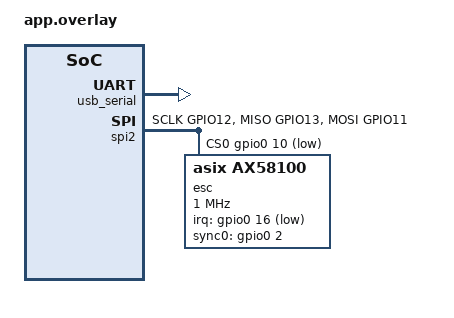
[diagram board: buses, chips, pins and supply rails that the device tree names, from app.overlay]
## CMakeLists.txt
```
cmake_minimum_required(VERSION 3.20.0)

# Custom bindings (asix,ax58100) live alongside the app.
list(APPEND DTS_ROOT ${CMAKE_CURRENT_SOURCE_DIR})

find_package(Zephyr REQUIRED HINTS $ENV{ZEPHYR_BASE})
project(ethercat_servo_node)

# SOES lives behind CONFIG_ESC_USE_SOES. Its sources are compiled straight
# into the app rather than as a separate library: it needs our ecat_options.h
# and cc.h on the include path, and a nested library would have to re-export
# both anyway.
if(CONFIG_ESC_USE_SOES)
  set(SOES_DIR ${CMAKE_CURRENT_SOURCE_DIR}/soes)

  # Fetched, not vendored — the same approach master/CMakeLists.txt uses for
  # SOEM. Committing the tree would add ~127 files of demos, drivers and ESI
  # binaries for the three .c files we actually compile.
  #
  # SOURCE_SUBDIR points at a directory that does not exist on purpose: it
  # stops FetchContent from running SOES's own CMakeLists, which builds a
  # standalone library with its own config. We only want the sources.
  include(FetchContent)
  FetchContent_Declare(soes
    GIT_REPOSITORY https://github.com/OpenEtherCATsociety/SOES.git
    # Pinned to the exact commit this port was verified against on hardware
    # (2026-08-02). Tags v3.1.0 and earlier are untested here.
    GIT_TAG 6ef7b9415e936c061ad30626ca00004bdde2ac62
    SOURCE_SUBDIR do-not-configure)
  FetchContent_MakeAvailable(soes)

  set(SOES_SRC ${soes_SOURCE_DIR}/soes)

  target_include_directories(app PRIVATE
    ${SOES_DIR} ${SOES_SRC} ${CMAKE_CURRENT_SOURCE_DIR}/src)

  target_sources(app PRIVATE
    ${SOES_SRC}/esc.c
    ${SOES_SRC}/esc_coe.c
    ${SOES_SRC}/ecat_slv.c
    ${SOES_DIR}/esc_hw.c
    ${SOES_DIR}/soes_app.c
    ${SOES_DIR}/slave_objectlist.c
  )
endif()

target_sources(app PRIVATE
  src/main.c
  src/ax58100.c
  src/diag.c
  src/servo.c
  src/esc_irq.c
  src/stepper.c
  src/ecat_slave.c
  src/sync0.c
)
```

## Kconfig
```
source "Kconfig.zephyr"

config ESC_DIAG
	bool "Run link diagnostics instead of the milestone 4a register check"
	default n
	help
	  Diagnostic build, used in place of the milestone 4a register check
	  when the ESC does not answer over SPI.

	  Tests the NSS wire by asserting chip select and watching for the
	  ESC's reaction on IRQ and MISO — NSS and SCK are ESC inputs, so a
	  pull-up cannot tell a carrying wire from a dead one, and this is the
	  only way to see them. Ends in a live monitor of every SPI line so
	  wiring can be poked at without reflashing.

config SERVO_LOCAL_SWEEP
	bool "Sweep the servo locally instead of following EtherCAT"
	default n
	help
	  Milestone 5a behaviour: ignore the bus and sweep the actuator from a
	  local counter. Proves the PWM channel, the actuator wiring and its
	  power supply on their own, so that if the angle later arrives over
	  EtherCAT and nothing moves, the mechanical half is already ruled out.

	  Leave this off for normal operation, where the angle comes from the
	  master as process data.

config ESC_DC_SYNC
	bool "Pace the slave cycle from the SYNC0 distributed-clock output"
	default y
	help
	  Runs one cycle of the slave application per SYNC0 edge instead of
	  polling on a local timer, using the sync0-gpios pin declared on the
	  ESC node in app.overlay (GPIO 21).

	  SYNC0 only pulses after the master calls ec_dcsync0(), which cannot
	  happen before SAFEOP, so the loop polls at 1 ms until edges appear
	  and reverts to polling if they stop. Turning this off costs nothing
	  functionally — the chain works either way — but the actuation instant
	  then follows the master's scheduling jitter instead of the bus clock.

	  This matters little for a hobby servo on a 20 ms PWM frame. It
	  becomes mandatory the moment two axes have to move together.

config ESC_SII_REWRITTEN
	bool "The ESC EEPROM holds our own ESI, not the stock demo image"
	default n
	help
	  Says which image is actually in the module's SII EEPROM. This is a
	  statement of fact about the hardware in front of you, not a
	  preference — set it wrong and the slave stops at PREOP.

	  Off: the module still carries the Beckhoff Slave Stack Code demo
	  image it shipped with. The slave reports Beckhoff's identity, because
	  a master that cross-checks the CoE identity against the SII identity
	  has to see the same numbers on both, and SM3 is six bytes, so the
	  TxPDO carries a padding entry to reach that length.

	  On: scripts/write-eeprom.sh has been run and the EEPROM holds the
	  image built from esi/EthercatServoNode.xml. Identity is ours, SM3 is
	  four bytes, and the padding entry is gone.

	  Order matters. Write the EEPROM first, then rebuild with this on.
	  The reverse leaves a slave whose object dictionary is smaller than
	  the SyncManager the master programmed from the EEPROM, and the
	  master refuses SAFEOP rather than guessing.

	  Defaults off because that is what an unmodified module does.

config ESC_USE_SOES
	bool "Use the SOES slave stack instead of the built-in minimal slave"
	default y
	help
	  Runs OpenEtherCATsociety/SOES (fetched at configure time by
	  firmware/CMakeLists.txt, pinned by commit — not vendored) in place of
	  firmware/src/ecat_slave.c. Both sit on the same ax58100.c
	  SPI layer and present identical process data — 2 bytes out, 6 in — so
	  the master cannot tell them apart.

	  SOES additionally provides a CoE mailbox with SDO access, which the
	  minimal slave has none of, and is the natural foundation for CiA 402.
	  That mailbox is why it is now the default: the module's EEPROM already
	  declares SM0/SM1 at 0x1000/0x1080, so a real object dictionary costs
	  nothing but code, and adding one to the minimal slave would mean
	  writing an SDO up/download state machine from scratch.

	  Turn it off (./scripts/fw.sh build nema17 legacy) to run the
	  hand-written stack instead. It stays supported and tested — it is
	  smaller, has no external dependency, and every line of it is ours,
	  which makes it the better thing to read when explaining how an AL
	  state machine actually works.

	  Configuration lives in firmware/soes/ecat_options.h and must match the
	  module's EEPROM exactly.
```

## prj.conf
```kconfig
# Milestone 4a: SPI to the AX58100 + console over native USB.

CONFIG_SPI=y
CONFIG_GPIO=y

# Actuator PWM. Harmless when no actuator overlay is applied — the servo
# code compiles out entirely if the devicetree has no servo node.
CONFIG_PWM=y

# Stepper motion control. The gpio-step-dir controller driver enables itself
# from the devicetree, so this symbol alone is enough — and it costs nothing
# in the builds where no stepper overlay is applied.
CONFIG_STEPPER=y

# k_poll, so the slave loop can wait on the SYNC0 and SINT semaphores at the
# same time. Without it the loop can only block on one interrupt, which means
# either the cyclic act or the event servicing has to be polled.
CONFIG_POLL=y

CONFIG_LOG=y
CONFIG_LOG_MODE_IMMEDIATE=y

# Console runs on the ESP32-S3's built-in USB-Serial-JTAG (see
# app.overlay). No USB device stack is needed — the peripheral presents
# itself as a UART to Zephyr.
CONFIG_SERIAL=y
CONFIG_CONSOLE=y
CONFIG_UART_CONSOLE=y

CONFIG_MAIN_STACK_SIZE=4096
```

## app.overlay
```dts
/*
 * AX58100 EtherCAT Slave Controller on the ESP32-S3's FSPI (SPI2).
 *
 * GPIO 10-13 are the ESP32-S3 FSPI IOMUX pins, so the SPI runs at full
 * speed with no GPIO-matrix routing penalty.
 *
 * Wiring is documented in docs/wiring/wiring-diagram.pdf (page 2).
 */

#include <zephyr/dt-bindings/pinctrl/esp32s3-pinctrl.h>
#include <zephyr/dt-bindings/gpio/gpio.h>

/*
 * Console over the ESP32-S3's built-in USB-Serial-JTAG peripheral.
 *
 * REQUIRED on the T-Display-S3. The esp32s3_devkitc board puts the
 * console on uart0 (GPIO 43/44) and disables usb_serial, because the
 * DevKitC has a USB-to-UART bridge chip on those pins. The T-Display-S3
 * has no such chip — its USB-C goes straight to the SoC's native USB
 * (GPIO 19/20). Without this override you get no console output at all.
 */
/ {
	chosen {
		zephyr,console = &usb_serial;
		zephyr,shell-uart = &usb_serial;
	};
};

&usb_serial {
	status = "okay";
};

&pinctrl {
	spim2_ethercat: spim2_ethercat {
		group1 {
			pinmux = <SPIM2_SCLK_GPIO12>,
				 <SPIM2_MISO_GPIO13>;
		};
		group2 {
			pinmux = <SPIM2_MOSI_GPIO11>;
			output-low;
		};
	};
};

&spi2 {
	status = "okay";
	pinctrl-0 = <&spim2_ethercat>;
	pinctrl-names = "default";

	/*
	 * Chip select is driven as a plain GPIO, not hardware CS: the ESC
	 * needs SCS_ESC held low across a whole multi-byte transaction
	 * (address, command, wait state, data), and hardware CS on many
	 * controllers toggles per byte.
	 */
	cs-gpios = <&gpio0 10 GPIO_ACTIVE_LOW>;

	esc: ax58100@0 {
		compatible = "asix,ax58100";
		reg = <0>;
		status = "okay";

		/*
		 * SPI mode 3 (CPOL=1, CPHA=1) and active-low chip select
		 * are not assumptions — they were read out of the live
		 * silicon via PDI Config register 0x0150 = 0x03 using
		 * `servo_master eth0 regs` on the Pi.
		 *
		 * Start at 1 MHz. The ESC tolerates up to ~47 MHz; slow
		 * first makes a scope trace easy to read if this fails.
		 */
		spi-max-frequency = <1000000>;
		spi-cpol;
		spi-cpha;

		irq-gpios   = <&gpio0 16 (GPIO_ACTIVE_LOW | GPIO_PULL_UP)>;

		/*
		 * SYNC0 is on GPIO 2, NOT GPIO 21 as the wiring tables
		 * originally said.
		 *
		 * GPIO 21 does not work as an input on this board: with the
		 * ESC provably generating SYNC0 (register 0x0984 bit 0 clears
		 * after the start time, and 0x0981 reads 0x03), GPIO 21 read a
		 * hard low that beat an internal pull-up and showed zero
		 * transitions across 148k samples spanning five DC cycles.
		 * Moving the same wire to GPIO 2 gave a clean 201 edges per
		 * 2 s — exactly the 100 Hz expected — with nothing else
		 * changed. Verified on hardware 2026-08-02.
		 */
		sync0-gpios = <&gpio0 2 GPIO_ACTIVE_HIGH>;
	};
};
```

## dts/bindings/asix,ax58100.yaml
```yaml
# AX58100 EtherCAT Slave Controller, accessed over its PDI-SPI slave port.
#
# The ESC is the SPI *slave*; this MCU is the SPI master. PDI-SPI on this
# module is already enabled in the ESC EEPROM (PDI Control = 0x05, read
# live over EtherCAT), so no strapping is needed here.

description: AX58100 EtherCAT Slave Controller (PDI-SPI)

compatible: "asix,ax58100"

include: [spi-device.yaml]

properties:
  irq-gpios:
    type: phandle-array
    description: |
      ASIX SINT. Asserted by the ESC when an AL event needs servicing.
      Active low, open drain on the module, so enable a pull-up.

  sync0-gpios:
    type: phandle-array
    description: |
      Distributed-clock SYNC0 output from the ESC. Not required to reach
      OP; wire it now so DC-synchronised motion is possible later.
```

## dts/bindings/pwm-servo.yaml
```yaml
# PWM-driven servo motor.
#
# Zephyr does not ship this binding upstream — it lives inside
# samples/basic/servo_motor — so the application has to carry its own
# copy. Kept identical to the in-tree one so the sample code and any
# upstream documentation apply unchanged.

description: PWM-driven servo motor.

compatible: "pwm-servo"

include: base.yaml

properties:
  pwms:
    required: true
    type: phandle-array
    description: PWM specifier driving the servo motor.

  min-pulse:
    required: true
    type: int
    description: Minimum pulse width (nanoseconds).

  max-pulse:
    required: true
    type: int
    description: Maximum pulse width (nanoseconds).
```

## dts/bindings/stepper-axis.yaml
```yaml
# Angle-commanded stepper axis.
#
# Zephyr's stepper API is expressed in microsteps; this project commands
# actuators in degrees so that the PDO layout, the master's CLI and
# master/src/angle.c are identical whichever actuator is fitted. The
# translation needs to know the mechanics, and none of it belongs in C:
# a different motor, a different microstep DIP setting or a different
# driver changes these numbers without changing a line of code.
#
# This node describes the axis. The pulse generation itself belongs to
# the motion controller pointed at by `controller`.

description: Stepper axis commanded in degrees.

compatible: "stepper-axis"

include: base.yaml

properties:
  controller:
    required: true
    type: phandle
    description: |
      The step/dir motion controller that generates the pulses, e.g. a
      zephyr,gpio-step-dir-stepper-ctrl node.

  enable-gpios:
    type: phandle-array
    description: |
      Driver ENABLE line, if it is under software control. Declare the
      flags so that "active" means "motor energised" — on a DRV8825 or an
      A4988 the pin is nENABLE, so that is GPIO_ACTIVE_LOW.

      Optional: on a board that ties ENABLE to ground the axis still
      works, it simply cannot ever release the motor.

  full-steps-per-revolution:
    required: true
    type: int
    description: |
      Full steps per output revolution, from the motor datasheet. A 1.8
      degree/step motor such as the 17HS4023 gives 200.

  microstep-factor:
    type: int
    default: 1
    description: |
      Microsteps per full step, as selected on the driver. 1 is full-step.

      This MUST agree with however the driver is actually configured. On a
      board where microstepping is set by DIP switches there is no way to
      read the setting back, so the two are kept in agreement by hand — and
      a mismatch fails silently, with every commanded angle wrong by this
      factor while the motor turns smoothly and reports no error.

  step-interval-ns:
    required: true
    type: int
    description: |
      Time between microsteps, in nanoseconds; the reciprocal of the step
      rate. Bounded below by the motor's pull-in rate at the current limit
      actually set on the driver: an under-driven stepper skips steps when
      accelerated hard, and with no encoder on the shaft a skipped step is
      silent and permanent.

  max-angle:
    type: int
    default: 180
    description: |
      Largest commandable angle in degrees, measured from the position the
      shaft happened to be in at boot. Targets above this are clamped, the
      same contract as the servo and as angle_clamp() on the master side.
```

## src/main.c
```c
/*
 * MILESTONE 4a — prove the SPI link to the AX58100.
 *
 * Every value checked here was already read over EtherCAT from the Pi
 * with `servo_master eth0 regs`, so this is not a blind bring-up: there
 * are known-good expected answers for each register. If SPI is wired and
 * configured correctly these must agree.
 *
 * Do not add SOES until this passes.
 */
#include <zephyr/devicetree.h>
#include <zephyr/kernel.h>
#include <zephyr/logging/log.h>

#include "ecat_slave.h"
#include "ax58100.h"
#if defined(CONFIG_ESC_USE_SOES)
#include "soes_app.h"
#endif
#include "servo.h"
#include "stepper.h"
#include "sync0.h"

LOG_MODULE_REGISTER(main, LOG_LEVEL_INF);

struct reg_check {
	const char *name;
	uint16_t adr;
	uint8_t expect;
	bool has_expect;
};

static const struct reg_check checks[] = {
	{"Type", ESC_REG_TYPE, 0xc8, true},
	{"Revision", ESC_REG_REVISION, 0x00, false},
	{"PDI Control", ESC_REG_PDI_CONTROL, 0x05, true},
	{"ESC Config", ESC_REG_ESC_CONFIG, 0x0e, true},
	{"PDI Config", ESC_REG_PDI_CONFIG, 0x03, true},
	{"AL Status", ESC_REG_AL_STATUS, ESC_AL_INIT, true},
};

static int run_checks(void)
{
	int failures = 0;

	for (size_t i = 0; i < ARRAY_SIZE(checks); i++) {
		int v = esc_read8(checks[i].adr);

		if (v < 0) {
			LOG_ERR("0x%04x %-12s READ FAILED (%d)",
				checks[i].adr, checks[i].name, v);
			failures++;
			continue;
		}

		if (!checks[i].has_expect) {
			LOG_INF("0x%04x %-12s 0x%02x", checks[i].adr,
				checks[i].name, v);
		} else if (v == checks[i].expect) {
			LOG_INF("0x%04x %-12s 0x%02x  PASS", checks[i].adr,
				checks[i].name, v);
		} else {
			LOG_ERR("0x%04x %-12s 0x%02x  FAIL (expected 0x%02x)",
				checks[i].adr, checks[i].name, v,
				checks[i].expect);
			failures++;
		}
	}
	return failures;
}

/* All-zero or all-ones across every register is the classic signature of
 * a dead SPI link rather than a misconfigured ESC, and it has a small set
 * of likely causes worth printing rather than making the user guess. */
static void hint_on_total_failure(void)
{
	int type = esc_read8(ESC_REG_TYPE);

	if (type != 0x00 && type != 0xff) {
		return;
	}
	LOG_ERR("Register 0x0000 reads 0x%02x — that is a dead SPI link, not "
		"a configuration problem.", type);
	LOG_ERR("Most likely, in order: (1) no common ground between the "
		"ESP32 (USB powered) and the module (Pi powered);");
	LOG_ERR("(2) MISO and MOSI swapped — they are adjacent on the "
		"module header; (3) module unpowered — check the Pi is on.");
}

/*
 * Actuator dispatch.
 *
 * Exactly one actuator overlay is applied per build, and the one that is not
 * compiles down to stubs that report absent. So these pick whichever is really
 * there, and the EtherCAT side never learns which actuator it is driving —
 * that was the point of taking the apply function as a callback.
 *
 * The two overlays are alternatives rather than a pair, and not only by
 * convention: sg90.overlay drives GPIO 1 from the LEDC peripheral and
 * nema17.overlay uses the same pin for STEP. Applying both would hand the pin
 * to the pin controller and leave the stepper silently motionless, so reject
 * that image at build time instead of debugging it on a bench.
 */
BUILD_ASSERT(!(DT_NODE_HAS_STATUS(DT_ALIAS(actuator_servo), okay) &&
	       DT_NODE_HAS_STATUS(DT_ALIAS(actuator_stepper), okay)),
	     "Both actuator overlays are applied; they contend for GPIO 1. "
	     "Build one actuator at a time: ./scripts/fw.sh build sg90|nema17");

static bool actuator_present(void)
{
	return servo_present() || stepper_present();
}

static int actuator_init(void)
{
	return servo_present() ? servo_init() : stepper_init();
}

/* Adapter: the actuator API returns an error code, the slave callback does
 * not. A failed write is already logged by servo.c or stepper.c, and there is
 * nothing useful the state machine could do about it mid-cycle — dropping to
 * SAFEOP because one frame's update did not take would be worse than holding. */
static void apply_target_angle(uint16_t degrees)
{
	if (servo_present()) {
		(void)servo_set_angle(degrees);
	} else {
		(void)stepper_set_angle(degrees);
	}
}

/*
 * Where the axis reports it actually is, for the input PDO.
 *
 * Returns the commanded angle as a fallback when the actuator cannot answer,
 * because the alternative — reporting 0, or the previous good value — would
 * be worse: a master watching this field would see the axis snap to zero or
 * freeze, and conclude the mechanism had failed.
 *
 * The fallback is announced once rather than every cycle. Silently
 * substituting the command for a measurement is exactly the failure this
 * whole change exists to remove, so it must not be quiet.
 */
static uint16_t actuator_actual_angle(uint16_t commanded)
{
	static bool warned;
	uint16_t actual;
	int rc;

	rc = servo_present() ? servo_actual_angle(&actual)
			     : stepper_actual_angle(&actual);
	if (rc == 0) {
		return actual;
	}

	if (!warned) {
		warned = true;
		LOG_WRN("actuator cannot report position (%d) — the input PDO "
			"will carry the COMMANDED angle. It is not feedback; "
			"do not read it as proof the axis arrived.", rc);
	}
	return commanded;
}

/*
 * Bring the actuator up once, before either slave stack starts, and decide
 * whether it is fit to be driven.
 *
 * Returning NULL rather than the callback is the important part. An actuator
 * whose init failed does not recover by being commanded: a stepper with no
 * step interval programmed rejects every single move with -EINVAL, and the
 * resulting LOG_ERR is a synchronous console write (CONFIG_LOG_MODE_IMMEDIATE)
 * sitting inside the cyclic process-data loop. That blows the cycle budget and
 * drops the slave out of OP, turning a motor fault into what looks like a bus
 * fault. Better to run the bus honestly with no motion.
 */
static ecat_apply_fn actuator_bring_up(void)
{
	if (!actuator_present()) {
		LOG_WRN("no actuator overlay applied — the bus will run without "
			"motion. Build with ./scripts/fw.sh build sg90|nema17.");
		return NULL;
	}

	int rc = actuator_init();

	if (rc != 0) {
		LOG_ERR("actuator present but init failed (%d) — running the bus "
			"without motion rather than failing every cycle.", rc);
		return NULL;
	}
	return apply_target_angle;
}

/*
 * Step to the three angles that matter first, holding each long enough to
 * see and measure, then sweep continuously.
 *
 * The discrete steps come first deliberately: a servo that buzzes but does
 * not hold position, or that slams to one end and stays there, is a power
 * or pulse-width problem, and that is far easier to spot against a held
 * angle than in the middle of a continuous sweep.
 */
static void actuator_demo(void)
{
	static const uint16_t steps[] = {90, 0, 90, 180, 90};

	for (size_t i = 0; i < ARRAY_SIZE(steps); i++) {
		LOG_INF("actuator -> %u deg", steps[i]);
		apply_target_angle(steps[i]);
		k_sleep(K_MSEC(1200));
	}

	LOG_INF("sweeping 0..180 continuously; ESC heartbeat every ~5 s");

	uint16_t angle = 0;
	int step = 2;
	int ticks = 0;

	while (1) {
		apply_target_angle(angle);

		if (angle == 180) {
			step = -2;
		} else if (angle == 0) {
			step = 2;
		}
		angle = (uint16_t)(angle + step);

		/* Keep proving the SPI link while the servo runs: a servo
		 * browning out the rail shows up here as the ESC going
		 * unreadable, which is the failure this wiring invites. */
		if (++ticks >= 250) {
			ticks = 0;
			LOG_INF("heartbeat: Type=0x%02x angle=%u",
				esc_read8(ESC_REG_TYPE), angle);
		}
		k_sleep(K_MSEC(20));
	}
}

int main(void)
{
	LOG_INF("EtherCAT servo node — ESP32-S3 host, milestone 4a");

	if (IS_ENABLED(CONFIG_ESC_DIAG)) {
		/*
		 * Runs BEFORE esc_init() and never returns. Order matters: the
		 * diagnostics read the SPI pins as plain GPIOs, and once the SPI
		 * controller has claimed them it keeps driving MOSI and SCLK.
		 * On the ESP32 a later gpio_pin_configure() does not detach the
		 * peripheral's output routing, so initialising SPI first makes
		 * GPIO 11 and 12 report as externally driven when nothing is
		 * attached to them at all.
		 */
		esc_diag_run();
		return 0;
	}

	if (esc_init() != 0) {
		return 0;
	}

	/* The ESC needs a moment after power-up to load its EEPROM before
	 * PDI access is meaningful. */
	k_sleep(K_MSEC(100));

	/*
	 * Discard one read before checking anything.
	 *
	 * The first PDI-SPI access after reset returns 0xff on this hardware
	 * even when every later read is correct — the ESC is still settling
	 * and has not driven MISO yet. Without this, register 0x0000 fails
	 * while 0x0140/0x0141/0x0150 all pass, which looks like a wiring
	 * fault on one line rather than a timing artifact on the first
	 * transaction.
	 */
	(void)esc_read8(ESC_REG_TYPE);

	int failures = run_checks();

	if (failures == 0) {
		LOG_INF("MILESTONE 4a PASS — SPI link to the AX58100 works.");
		LOG_INF("Next: integrate SOES (see docs/bringup-checklist.md).");
	} else {
		LOG_ERR("%d check(s) failed.", failures);
		hint_on_total_failure();
	}

	if (IS_ENABLED(CONFIG_SERVO_LOCAL_SWEEP)) {
		/*
		 * MILESTONE 5a — the actuator moves under its own steam, with
		 * the bus ignored entirely. Diagnostic only: it separates a
		 * broken actuator from a broken slave stack.
		 */
		if (!actuator_present()) {
			LOG_ERR("CONFIG_SERVO_LOCAL_SWEEP set but no actuator "
				"overlay applied — build with sg90 or nema17.");
		} else if (actuator_init() != 0) {
			/* The actuator itself has already logged why. Saying
			 * "no actuator present" here would send the operator
			 * to check the overlay, which is the wrong place. */
			LOG_ERR("Actuator is configured but failed to "
				"initialise; see the error above.");
		} else {
			actuator_demo();
		}
		return 0;
	}

	/*
	 * One bring-up, shared by both slave stacks below.
	 *
	 * This deliberately sits above the SOES branch. Both paths previously
	 * called actuator_init() themselves, which meant two places had to
	 * agree on what a failed init means — and the consequence of getting
	 * it wrong is not obvious: a stepper with no step interval programmed
	 * rejects every move with -EINVAL, and the resulting per-cycle LOG_ERR
	 * is a synchronous console write inside the process-data loop.
	 */
	ecat_apply_fn apply = actuator_bring_up();

	if (IS_ENABLED(CONFIG_ESC_USE_SOES)) {
		/* Hands the AL state machine, the CoE mailbox and the PDO
		 * mapping to SOES. Never returns. */
#if defined(CONFIG_ESC_USE_SOES)
		soes_app_run(apply, apply ? actuator_actual_angle : NULL);
#endif
		return 0;
	}

	/*
	 * MILESTONE 4b — run as an EtherCAT slave.
	 *
	 * The angle now arrives as process data instead of a local counter.
	 * Polling is fast and unconditional: the master decides the cycle
	 * time, and the working counter it checks only increments when we
	 * have actually read the outputs and written the inputs.
	 */
	if (ecat_slave_init(apply, apply ? actuator_actual_angle : NULL) != 0) {
		return 0;
	}
	if (sync0_present() && sync0_init() != 0) {
		LOG_WRN("SYNC0 unavailable — the cycle will free-run on a local "
			"timer rather than the bus clock");
	}

	uint8_t last_logged = 0xff;

	while (1) {
		/* Blocks on the SYNC0 edge once the master has activated the
		 * distributed clock, and falls back to a 1 ms sleep until then.
		 * See sync0.c. */
		(void)sync0_pace();

		ecat_slave_poll();

		uint8_t st = ecat_slave_state();

		if (st != last_logged) {
			LOG_INF("AL state: %s (%s, %u SYNC0 edges)",
				ecat_state_name(st),
				sync0_locked() ? "DC-synchronised" : "polled",
				sync0_edges());
			last_logged = st;
		}
	}
	return 0;
}
```

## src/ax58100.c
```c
#include "ax58100.h"

#include <string.h>

#include <zephyr/device.h>
#include <zephyr/drivers/spi.h>
#include <zephyr/kernel.h>
#include <zephyr/logging/log.h>

LOG_MODULE_REGISTER(esc, LOG_LEVEL_INF);

/*
 * PDI-SPI frame format, from AX58100 datasheet v105 Figure 4-17
 * (2 byte addressing, read with Wait State byte):
 *
 *   byte 0 : A12..A5
 *   byte 1 : A4..A0 (bits 7..3) | command (bits 2..0)
 *   byte 2 : wait state byte    (reads only)
 *   byte 3+: data
 *
 * The command encodings below are the standard EtherCAT ESC values; the
 * AX58100 is register- and protocol-compatible with the Beckhoff ET1100
 * (see AX58100_Migration_from_Beckhoff_ET1100_AppNote_v100.pdf in
 * knowledge base/, which is gitignored — fetch it from ASIX). They are not
 * printed as a table in the AX58100 datasheet itself — the read of
 * ESC_REG_TYPE returning 0xc8 is what confirms this encoding is right on
 * real hardware.
 */
#define ESC_CMD_NOP 0x00u
#define ESC_CMD_READ 0x02u
#define ESC_CMD_READ_WS 0x03u /* read, one wait state byte before data */
#define ESC_CMD_WRITE 0x04u

#define ESC_ADDR_HDR_LEN 2
#define ESC_WAIT_STATE_LEN 1

/* Largest single transfer we ever do. Process data for this application
 * is a handful of bytes; the header dominates. */
#define ESC_MAX_XFER 64

static const struct spi_dt_spec esc_spi =
	SPI_DT_SPEC_GET(DT_NODELABEL(esc),
			SPI_OP_MODE_MASTER | SPI_TRANSFER_MSB |
				SPI_MODE_CPOL | SPI_MODE_CPHA | SPI_WORD_SET(8));

static void esc_fill_header(uint8_t *hdr, uint16_t adr, uint8_t cmd)
{
	hdr[0] = (uint8_t)(adr >> 5);
	hdr[1] = (uint8_t)(((adr & 0x1fu) << 3) | (cmd & 0x07u));
}

int esc_init(void)
{
	if (!spi_is_ready_dt(&esc_spi)) {
		LOG_ERR("SPI bus for the AX58100 is not ready");
		return -ENODEV;
	}
	LOG_INF("ESC SPI ready: mode 3, %u Hz, CS active low",
		esc_spi.config.frequency);
	return 0;
}

int esc_read(uint16_t adr, void *buf, size_t len)
{
	if (len == 0 || len > ESC_MAX_XFER) {
		return -EINVAL;
	}

	const size_t total = ESC_ADDR_HDR_LEN + ESC_WAIT_STATE_LEN + len;
	uint8_t tx[ESC_ADDR_HDR_LEN + ESC_WAIT_STATE_LEN + ESC_MAX_XFER];
	uint8_t rx[ESC_ADDR_HDR_LEN + ESC_WAIT_STATE_LEN + ESC_MAX_XFER];

	esc_fill_header(tx, adr, ESC_CMD_READ_WS);
	/*
	 * Only the LAST byte clocked out may be 0xff.
	 *
	 * 0xff is the read-termination byte: the ESC ends the access as soon
	 * as it sees one, and keeps auto-incrementing its address while it
	 * sees anything else. Filling the whole data phase with 0xff — as
	 * this did originally — terminates after the first data byte, so a
	 * multi-byte read returns one correct byte followed by zeros.
	 *
	 * Single-byte reads are unaffected, which is why every register check
	 * in milestone 4a passed while reading a 4-byte SyncManager
	 * configuration silently returned 0x0000 / length 0.
	 */
	tx[ESC_ADDR_HDR_LEN] = 0xff; /* wait state byte, left as before */
	memset(&tx[ESC_ADDR_HDR_LEN + ESC_WAIT_STATE_LEN], 0x00, len);
	tx[total - 1] = 0xff;

	const struct spi_buf tx_buf = {.buf = tx, .len = total};
	const struct spi_buf rx_buf = {.buf = rx, .len = total};
	const struct spi_buf_set tx_set = {.buffers = &tx_buf, .count = 1};
	const struct spi_buf_set rx_set = {.buffers = &rx_buf, .count = 1};

	int rc = spi_transceive_dt(&esc_spi, &tx_set, &rx_set);
	if (rc < 0) {
		LOG_ERR("SPI read at 0x%04x failed: %d", adr, rc);
		return rc;
	}

	memcpy(buf, &rx[ESC_ADDR_HDR_LEN + ESC_WAIT_STATE_LEN], len);
	return 0;
}

int esc_write(uint16_t adr, const void *buf, size_t len)
{
	if (len == 0 || len > ESC_MAX_XFER) {
		return -EINVAL;
	}

	/* Writes have no wait state byte (datasheet Figure 4-19). */
	const size_t total = ESC_ADDR_HDR_LEN + len;
	uint8_t tx[ESC_ADDR_HDR_LEN + ESC_MAX_XFER];

	esc_fill_header(tx, adr, ESC_CMD_WRITE);
	memcpy(&tx[ESC_ADDR_HDR_LEN], buf, len);

	const struct spi_buf tx_buf = {.buf = tx, .len = total};
	const struct spi_buf_set tx_set = {.buffers = &tx_buf, .count = 1};

	int rc = spi_write_dt(&esc_spi, &tx_set);
	if (rc < 0) {
		LOG_ERR("SPI write at 0x%04x failed: %d", adr, rc);
	}
	return rc;
}

int esc_read8(uint16_t adr)
{
	uint8_t v = 0;
	int rc = esc_read(adr, &v, sizeof(v));

	return (rc < 0) ? rc : (int)v;
}
```

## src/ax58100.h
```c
/*
 * AX58100 EtherCAT Slave Controller register access over PDI-SPI.
 *
 * This is the layer SOES will eventually sit on top of. It is kept
 * deliberately free of any SOES dependency so it can be proven on its
 * own first (see MILESTONE 4a in docs/bringup-checklist.md).
 */
#ifndef AX58100_H
#define AX58100_H

#include <stddef.h>
#include <stdint.h>

/* ESC registers we care about during bring-up. Values in the comments
 * were read over EtherCAT from the Pi with `servo_master eth0 regs`,
 * so they are known-good expected answers for the SPI path. */
#define ESC_REG_TYPE 0x0000u       /* expect 0xc8  */
#define ESC_REG_REVISION 0x0001u   /* expect 0x00  */
#define ESC_REG_BUILD 0x0002u      /* 16-bit       */
#define ESC_REG_PDI_CONTROL 0x0140u/* expect 0x05 (SPI slave) */
#define ESC_REG_ESC_CONFIG 0x0141u /* expect 0x0e (device emulation off) */
#define ESC_REG_PDI_CONFIG 0x0150u /* expect 0x03 (mode 3, CS active low) */

/*
 * SyncManager watchdog status, register 0x0440, ETG.1000.4.
 *
 * Bit 0 is 1 while the watchdog is being fed and 0 once it has expired. That
 * is the authoritative "is the master still there" signal on this hardware,
 * and it is time-based — unlike SOES's own watchdog, which counts poll
 * iterations and so means different things depending on how fast the loop
 * happens to be running.
 *
 * The register address itself is not defined here: SOES already has it as
 * ESCREG_WDSTATUS with a reader (ESC_WDstatus), and the master programs the
 * divider and timeout. Only the bit meaning is ours to name.
 *
 * The EEPROM already enables the watchdog trigger bit on SM2 (F:00010064 in
 * slaveinfo), so nothing has to be written to make this work.
 */
#define ESC_WD_STATUS_OK 0x01u /* bit 0: set while the watchdog is fed */

/*
 * AL Event, ETG.1000.4. Two registers with the same bit layout:
 *
 *   0x0220 AL Event Request — what has happened and needs servicing.
 *   0x0204 AL Event Mask    — which of those are allowed to assert SINT.
 *
 * The mask resets to ZERO, so SINT stays silent until something writes it.
 * That is why the IRQ wire looked dead for most of this project: the pin was
 * connected and the chip was working, and nothing had ever asked it to speak.
 *
 * Reading 0x0220 is what clears the event and releases the pin, which matters
 * because SINT is level triggered on this module (EEPROM byte 0x0A bit 4).
 *
 * Values match SOES's ESCREG_ALEVENT_* exactly — both come from the spec. They
 * are restated here so this layer builds without SOES, since the hand-written
 * slave uses the same hardware.
 */
#define ESC_REG_AL_EVENT_MASK 0x0204u
#define ESC_REG_AL_EVENT 0x0220u

#define ESC_ALEVENT_CONTROL 0x00000001u  /* master wrote AL Control */
#define ESC_ALEVENT_DC_LATCH 0x00000002u
#define ESC_ALEVENT_DC_SYNC0 0x00000004u
#define ESC_ALEVENT_DC_SYNC1 0x00000008u
#define ESC_ALEVENT_SMCHANGE 0x00000010u /* SM activation register changed */
#define ESC_ALEVENT_EEP 0x00000020u
#define ESC_ALEVENT_WD 0x00000040u
#define ESC_ALEVENT_SM0 0x00000100u      /* mailbox out written */
#define ESC_ALEVENT_SM1 0x00000200u      /* mailbox in read */
#define ESC_ALEVENT_SM2 0x00000400u      /* process outputs written */
#define ESC_ALEVENT_SM3 0x00000800u      /* process inputs read */
/* AL state machine. Addresses per AX58100 datasheet v105 register map
 * (and ETG.1000): AL Control is what the master requests, AL Status is
 * what the slave reports back, AL Status Code carries the reason for a
 * refusal. These three were previously shifted by one slot here, which
 * made a correct "AL Status = 0x01 (INIT)" read look like an AL Control
 * value and hid the master's actual request completely. */
#define ESC_REG_AL_CONTROL 0x0120u     /* master writes the requested state */
#define ESC_REG_AL_STATUS 0x0130u      /* slave writes the achieved state */
#define ESC_REG_AL_STATUS_CODE 0x0134u /* slave writes the refusal reason */

/* AL states, low nibble of AL Control / AL Status. */
#define ESC_AL_INIT 0x01u
#define ESC_AL_PREOP 0x02u
#define ESC_AL_BOOT 0x03u
#define ESC_AL_SAFEOP 0x04u
#define ESC_AL_OP 0x08u
#define ESC_AL_ERROR_ACK 0x10u /* set by the master to clear an error */
#define ESC_AL_STATE_MASK 0x0fu

/*
 * SyncManagers. Eight bytes of configuration each, starting at 0x0800:
 *
 *   +0  physical start address in the ESC's DPRAM (16 bit)
 *   +2  length in bytes (16 bit)
 *   +4  control (buffer type, direction)
 *   +5  status
 *   +6  activate (bit 0 enables the SyncManager)
 *   +7  PDI control
 *
 * The master programs these from the EEPROM's description of the slave on
 * the PREOP->SAFEOP transition. The slave reads them back to learn where in
 * DPRAM its process data actually lives — those addresses are not fixed and
 * must never be hardcoded.
 *
 * SM0/SM1 are the mailbox pair; SM2 carries outputs (master -> slave) and
 * SM3 inputs (slave -> master).
 */
#define ESC_SM_BASE 0x0800u
#define ESC_SM_REG(n, off) (ESC_SM_BASE + (uint16_t)((n) * 8u) + (off))
#define ESC_SM_PHYS_ADDR 0u
#define ESC_SM_LENGTH 2u
#define ESC_SM_CONTROL 4u
#define ESC_SM_STATUS 5u
#define ESC_SM_ACTIVATE 6u

#define ESC_SM_OUTPUTS 2u
#define ESC_SM_INPUTS 3u

/* AL Status Code values we can return, from ETG.1000.6 Table 12. */
#define ESC_ALSC_NO_ERROR 0x0000u
#define ESC_ALSC_INVALID_OUTPUT_CFG 0x001du
#define ESC_ALSC_INVALID_INPUT_CFG 0x001eu

/* Bind to the devicetree node and configure the SPI bus.
 * Returns 0 on success, negative errno otherwise. */
int esc_init(void);

/* Read len bytes starting at the ESC register address adr.
 * len may be 1..N; the ESC auto-increments its address. */
int esc_read(uint16_t adr, void *buf, size_t len);

/* Write len bytes starting at the ESC register address adr. */
int esc_write(uint16_t adr, const void *buf, size_t len);

/* Convenience single-byte read. Returns negative errno on failure,
 * otherwise the byte value in 0..255. */
int esc_read8(uint16_t adr);

/* Diagnostic build only: test the NSS wire by watching the ESC react, then
 * leave a live monitor of every SPI line running. NSS and SCK are ESC
 * inputs, so this is the only way to tell a carrying wire from a dead one.
 * See diag.c. */
void esc_diag_run(void);

#endif /* AX58100_H */
```

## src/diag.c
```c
/*
 * Link diagnostics for the AX58100 SPI connection.
 *
 * Built only when CONFIG_ESC_DIAG=y, in place of the milestone 4a register
 * check. It exists because the normal check reports a single symptom — every
 * register reads 0xff or 0x00 — that has several very different causes, and
 * nothing in a passive reading distinguishes them.
 *
 * The hard part is NSS and SCK. Both are ESC inputs, so pulling them up on
 * the ESP32 side reads high whether or not the wire carries; a dead wire and
 * a good one look identical. The way out is to use the ESC itself as the
 * instrument: it visibly reacts to being selected, so driving NSS and
 * watching for that reaction tests the wire end to end.
 */
#include "ax58100.h"

#include <zephyr/drivers/gpio.h>
#include <zephyr/kernel.h>
#include <zephyr/logging/log.h>

LOG_MODULE_REGISTER(diag, LOG_LEVEL_INF);

/*
 * Take a pin back from the SPI controller.
 *
 * Zephyr initialises drivers before main(), so SPI2 has already applied its
 * pinctrl and is driving MOSI and SCLK by the time any of this runs. On the
 * ESP32 configuring a pin as a GPIO *input* does not undo that routing — the
 * peripheral keeps driving it, and the pin then reads as though something
 * external were holding it high or low.
 *
 * Configuring it as an output first does undo it: the Zephyr esp32 GPIO
 * driver points the pin's output signal back at SIG_GPIO_OUT_IDX, detaching
 * the peripheral. Only then is an input reading meaningful.
 */
static void claim_pin_as_gpio(const struct device *gpio0, uint8_t pin)
{
	gpio_pin_configure(gpio0, pin, GPIO_OUTPUT_HIGH);
	gpio_pin_configure(gpio0, pin, GPIO_INPUT);
}

/* SPI signal pins, matching app.overlay. */
#define PIN_NSS 10
#define PIN_MOSI 11
#define PIN_SCK 12
#define PIN_MISO 13
#define PIN_IRQ 16

/*
 * Stage 1: test the NSS wire using the ESC's own reaction.
 *
 * NSS and SCK are ESC inputs, so a pull-up on the ESP32 side cannot tell
 * whether their wires conduct — that is the gap that kept this bring-up
 * stuck. But when NSS was grounded by hand at the module, the ESC responded
 * observably: IRQ (GPIO 16) went low and MISO (GPIO 13) changed state.
 *
 * That reaction is a probe. Driving NSS low from GPIO 10 and watching those
 * two lines tests the wire end to end with no manual intervention: if the
 * ESC reacts, the wire carries; if nothing moves, it does not.
 */
static void nss_wire_test(void)
{
	const struct device *gpio0 = DEVICE_DT_GET(DT_NODELABEL(gpio0));

	LOG_INF("--- stage 1: NSS wire test via ESC reaction ---");

	claim_pin_as_gpio(gpio0, PIN_MISO);
	claim_pin_as_gpio(gpio0, PIN_IRQ);
	gpio_pin_configure(gpio0, PIN_MISO, GPIO_INPUT | GPIO_PULL_UP);
	gpio_pin_configure(gpio0, PIN_IRQ, GPIO_INPUT | GPIO_PULL_UP);
	gpio_pin_configure(gpio0, PIN_NSS, GPIO_OUTPUT_HIGH);
	k_sleep(K_MSEC(20));

	int miso_hi = gpio_pin_get(gpio0, PIN_MISO);
	int irq_hi = gpio_pin_get(gpio0, PIN_IRQ);

	gpio_pin_set(gpio0, PIN_NSS, 0); /* assert chip select */
	k_sleep(K_MSEC(20));

	int miso_lo = gpio_pin_get(gpio0, PIN_MISO);
	int irq_lo = gpio_pin_get(gpio0, PIN_IRQ);

	gpio_pin_set(gpio0, PIN_NSS, 1);

	LOG_INF("  NSS high: MISO=%d IRQ=%d", miso_hi, irq_hi);
	LOG_INF("  NSS low : MISO=%d IRQ=%d", miso_lo, irq_lo);

	if (miso_hi != miso_lo || irq_hi != irq_lo) {
		LOG_INF("STAGE 1 PASS — the ESC reacted to NSS, so the GPIO 10 "
			"wire carries. Remaining suspect is SCK (GPIO 12).");
	} else {
		LOG_ERR("STAGE 1 FAIL — nothing moved when NSS was asserted.");
		LOG_ERR("The ESC did react when NSS was grounded by hand at the "
			"module, so the chip works: the GPIO 10 -> NSS wire is "
			"not carrying.");
	}
}

/*
 * Stage 2: live pin map.
 *
 * When the link test fails there are two possibilities left and no way to
 * tell them apart from the Mac: the jumper is not conducting, or the pad
 * being poked is not the GPIO we believe it is (unsoldered headers, a
 * miscounted pad, a board pinout that differs from the published diagram).
 *
 * Every SPI-related pin is held high by an internal pull-up and printed
 * continuously. Touching a pad to GND pulls exactly one line low, which
 * names that physical pad with certainty. That is a direct measurement of
 * the board in front of the user, not an assumption from a datasheet.
 */
static const struct {
	uint8_t pin;
	const char *role;
} monitored[] = {
	{PIN_NSS, "NSS  -> P1.9"}, {PIN_MOSI, "MOSI -> P1.7"}, {PIN_SCK, "SCK -> P1.5"},
	{PIN_MISO, "MISO -> P1.6"}, {PIN_IRQ, "IRQ -> P1.8"}, {21, "SYNC0-> P1.3"},
};

/*
 * Bias sweep: tell "nothing attached" apart from "held low".
 *
 * The monitor holds every pin high with an internal pull-up, so a 0 is read
 * as "something is grounding this". That inference fails if the pull-up
 * itself did not take effect, and the two cases look identical from one
 * sample. Reading each pin under a pull-up and then a pull-down separates
 * them, because only a floating pin follows the bias:
 *
 *   up=1 down=0  -> floating, nothing attached
 *   up=0 down=0  -> genuinely held low by something external
 *   up=1 down=1  -> held high by something external
 */
static void bias_sweep(void)
{
	const struct device *gpio0 = DEVICE_DT_GET(DT_NODELABEL(gpio0));

	LOG_INF("--- bias sweep: floating vs driven ---");

	for (size_t i = 0; i < ARRAY_SIZE(monitored); i++) {
		uint8_t pin = monitored[i].pin;

		claim_pin_as_gpio(gpio0, pin);
		gpio_pin_configure(gpio0, pin, GPIO_INPUT | GPIO_PULL_UP);
		k_sleep(K_MSEC(5));
		int up = gpio_pin_get(gpio0, pin);

		gpio_pin_configure(gpio0, pin, GPIO_INPUT | GPIO_PULL_DOWN);
		k_sleep(K_MSEC(5));
		int down = gpio_pin_get(gpio0, pin);

		const char *verdict;

		if (up == 1 && down == 0) {
			verdict = "floating (nothing attached)";
		} else if (up == 0 && down == 0) {
			verdict = "HELD LOW externally";
		} else if (up == 1 && down == 1) {
			verdict = "HELD HIGH externally";
		} else {
			verdict = "inverted - unexpected";
		}

		LOG_INF("  GPIO %-2u %-14s up=%d down=%d  %s", pin,
			monitored[i].role, up, down, verdict);
	}
}

/*
 * Pad-to-pad test: is a specific pad or wire bad?
 *
 * Grounding a pin through a jumper conflates three things — the wire, the
 * pin's pad, and whether the ground it reaches is the same node the ESP32
 * sits on. Driving one ESP32 pad and reading another removes the last of
 * those entirely: both ends are on this board, referenced to this board's
 * own ground, with only the jumper in between.
 *
 * Wire GPIO 16 to GPIO 21 for this. Both are known-good SoC pins — 21 read
 * the ESC's SYNC0 correctly for a long stretch, and 16 is otherwise idle.
 */
static void pad_to_pad_test(void)
{
	const struct device *gpio0 = DEVICE_DT_GET(DT_NODELABEL(gpio0));
	static const int levels[] = {0, 1, 0, 1};
	int bad = 0;

	LOG_INF("--- pad-to-pad: wire GPIO 16 to GPIO 21 ---");

	claim_pin_as_gpio(gpio0, PIN_IRQ);
	claim_pin_as_gpio(gpio0, 21);
	gpio_pin_configure(gpio0, PIN_IRQ, GPIO_OUTPUT_HIGH);
	gpio_pin_configure(gpio0, 21, GPIO_INPUT | GPIO_PULL_UP);

	for (size_t i = 0; i < ARRAY_SIZE(levels); i++) {
		gpio_pin_set(gpio0, PIN_IRQ, levels[i]);
		k_sleep(K_MSEC(5));
		int got = gpio_pin_get(gpio0, 21);

		LOG_INF("  drove GPIO 16 = %d, GPIO 21 reads %d  %s", levels[i],
			got, got == levels[i] ? "ok" : "MISMATCH");
		if (got != levels[i]) {
			bad++;
		}
	}

	if (bad == 0) {
		LOG_INF("PAD-TO-PAD PASS — both pads and the jumper are good. Any "
			"remaining failure is the ground between boards, or the "
			"module end of a wire.");
	} else {
		LOG_ERR("PAD-TO-PAD FAIL — with both ends on this board and no "
			"ground involved, either that jumper is dead or one of "
			"these two pads is not making contact.");
	}
}

static void pin_monitor(void)
{
	const struct device *gpio0 = DEVICE_DT_GET(DT_NODELABEL(gpio0));

	LOG_INF("--- stage 2: live pin monitor ---");
	LOG_INF("All pins pulled UP internally. Touch a pad to GND and the");
	LOG_INF("matching line below flips to 0, which identifies that pad.");

	for (size_t i = 0; i < ARRAY_SIZE(monitored); i++) {
		claim_pin_as_gpio(gpio0, monitored[i].pin);
		if (gpio_pin_configure(gpio0, monitored[i].pin,
				       GPIO_INPUT | GPIO_PULL_UP) < 0) {
			LOG_ERR("could not configure GPIO %u", monitored[i].pin);
		}
	}

	while (1) {
		char line[96];
		size_t off = 0;

		for (size_t i = 0; i < ARRAY_SIZE(monitored); i++) {
			int v = gpio_pin_get(gpio0, monitored[i].pin);

			off += snprintk(line + off, sizeof(line) - off,
					"%u=%d ", monitored[i].pin, v);
		}
		LOG_INF("pins: %s", line);
		k_sleep(K_MSEC(500));
	}
}

void esc_diag_run(void)
{
	LOG_INF("=== ESC LINK DIAGNOSTICS ===");

	/* Stage 1 is the only test that can see NSS and SCK, because they are
	 * ESC inputs: a pull-up on the ESP32 side reads high whether or not
	 * the wire carries. It works by watching the ESC's own reaction. */
	bias_sweep();
	pad_to_pad_test();
	nss_wire_test();

	/* Runs last and never returns — leaves a live view of every line so
	 * wiring can be poked at without reflashing. */
	pin_monitor();
}
```

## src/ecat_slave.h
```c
/*
 * Minimal EtherCAT slave application (phase 4b).
 *
 * This is the piece that turns "the ESP32 can read ESC registers" into "the
 * ESP32 is an EtherCAT slave". It implements the two things the AX58100 will
 * not do for us, because device emulation is off (ESC Config = 0x0e):
 *
 *   1. the AL state machine — INIT / PREOP / SAFEOP / OP, driven by what the
 *      master requests in AL Control and answered in AL Status;
 *   2. cyclic process data exchange — reading the target angle out of the
 *      ESC's DPRAM through SyncManager 2 and writing the echo back through
 *      SyncManager 3.
 *
 * It deliberately does NOT implement a CoE mailbox. The process data layout
 * comes from the EEPROM the module already ships with, so nothing here
 * depends on rewriting it.
 */
#ifndef ECAT_SLAVE_H
#define ECAT_SLAVE_H

#include <stdint.h>

/*
 * Called with a new target angle each cycle while the slave is in OP.
 *
 * Kept as a callback rather than calling the servo directly so the actuator
 * stays swappable: the stepper in phase 6 registers a different function and
 * nothing in this file changes.
 */
typedef void (*ecat_apply_fn)(uint16_t target_angle);

/*
 * Asked once per cycle for where the axis actually is, in degrees, so the
 * input PDO can carry position rather than an echo of the command.
 *
 * Takes the commanded angle so the actuator can fall back to it when it has
 * no position sense — the alternative, reporting zero, would look to a master
 * like the axis had collapsed to an end stop.
 *
 * May be NULL, in which case the input PDO reports the commanded angle and
 * the field means exactly what the old echo meant.
 */
typedef uint16_t (*ecat_actual_fn)(uint16_t commanded_angle);

/* Prepare the slave and park it in INIT. esc_init() must have succeeded
 * first. Returns 0 on success, negative errno otherwise. */
int ecat_slave_init(ecat_apply_fn apply, ecat_actual_fn actual);

/*
 * Service the state machine and, when in SAFEOP or OP, exchange process
 * data. Call this repeatedly; it returns quickly and does not block.
 */
void ecat_slave_poll(void);

/* Current AL state (ESC_AL_INIT, ESC_AL_PREOP, ...), for logging. */
uint8_t ecat_slave_state(void);

/* Human-readable name for an AL state value. */
const char *ecat_state_name(uint8_t state);

#endif /* ECAT_SLAVE_H */
```

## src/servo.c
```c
#include "servo.h"

#include <zephyr/devicetree.h>
#include <zephyr/drivers/pwm.h>
#include <zephyr/logging/log.h>

LOG_MODULE_REGISTER(servo, LOG_LEVEL_INF);

#define SERVO_NODE DT_ALIAS(actuator_servo)

#if DT_NODE_HAS_STATUS(SERVO_NODE, okay)

#define SERVO_ANGLE_MAX 180u

static const struct pwm_dt_spec servo_pwm = PWM_DT_SPEC_GET(SERVO_NODE);

/* Last angle written. This is all a servo build can report as "actual" —
 * see the note on servo_actual_angle() in servo.h. */
static uint16_t last_commanded;
static const uint32_t min_pulse_ns = DT_PROP(SERVO_NODE, min_pulse);
static const uint32_t max_pulse_ns = DT_PROP(SERVO_NODE, max_pulse);

bool servo_present(void)
{
	return true;
}

int servo_init(void)
{
	if (!pwm_is_ready_dt(&servo_pwm)) {
		LOG_ERR("PWM channel for the servo is not ready");
		return -ENODEV;
	}

	LOG_INF("Servo ready: %u ms frame, %u..%u us pulse",
		(unsigned)(servo_pwm.period / 1000000u),
		(unsigned)(min_pulse_ns / 1000u), (unsigned)(max_pulse_ns / 1000u));
	return 0;
}

int servo_set_angle(uint16_t degrees)
{
	if (degrees > SERVO_ANGLE_MAX) {
		degrees = SERVO_ANGLE_MAX;
	}

	/*
	 * Same mapping as angle_to_pulse_ms() on the master side, in integer
	 * arithmetic. The span is 2000 us over 180 degrees, so the widest
	 * intermediate here is 2000000 * 180 — well inside uint32_t, and
	 * exact, which a float would not be.
	 */
	const uint32_t span_ns = max_pulse_ns - min_pulse_ns;
	const uint32_t pulse_ns =
		min_pulse_ns + (uint32_t)((uint64_t)span_ns * degrees / SERVO_ANGLE_MAX);

	int rc = pwm_set_pulse_dt(&servo_pwm, pulse_ns);

	if (rc < 0) {
		LOG_ERR("pwm_set_pulse failed for %u deg: %d", degrees, rc);
		return rc;
	}
	last_commanded = degrees;
	return rc;
}

int servo_actual_angle(uint16_t *degrees)
{
	if (degrees == NULL) {
		return -EINVAL;
	}
	*degrees = last_commanded;
	return 0;
}

#else /* no sg90 overlay */

bool servo_present(void)
{
	return false;
}

int servo_init(void)
{
	return 0;
}

int servo_set_angle(uint16_t degrees)
{
	ARG_UNUSED(degrees);
	return 0;
}

int servo_actual_angle(uint16_t *degrees)
{
	ARG_UNUSED(degrees);
	return -ENODEV;
}

#endif
```
